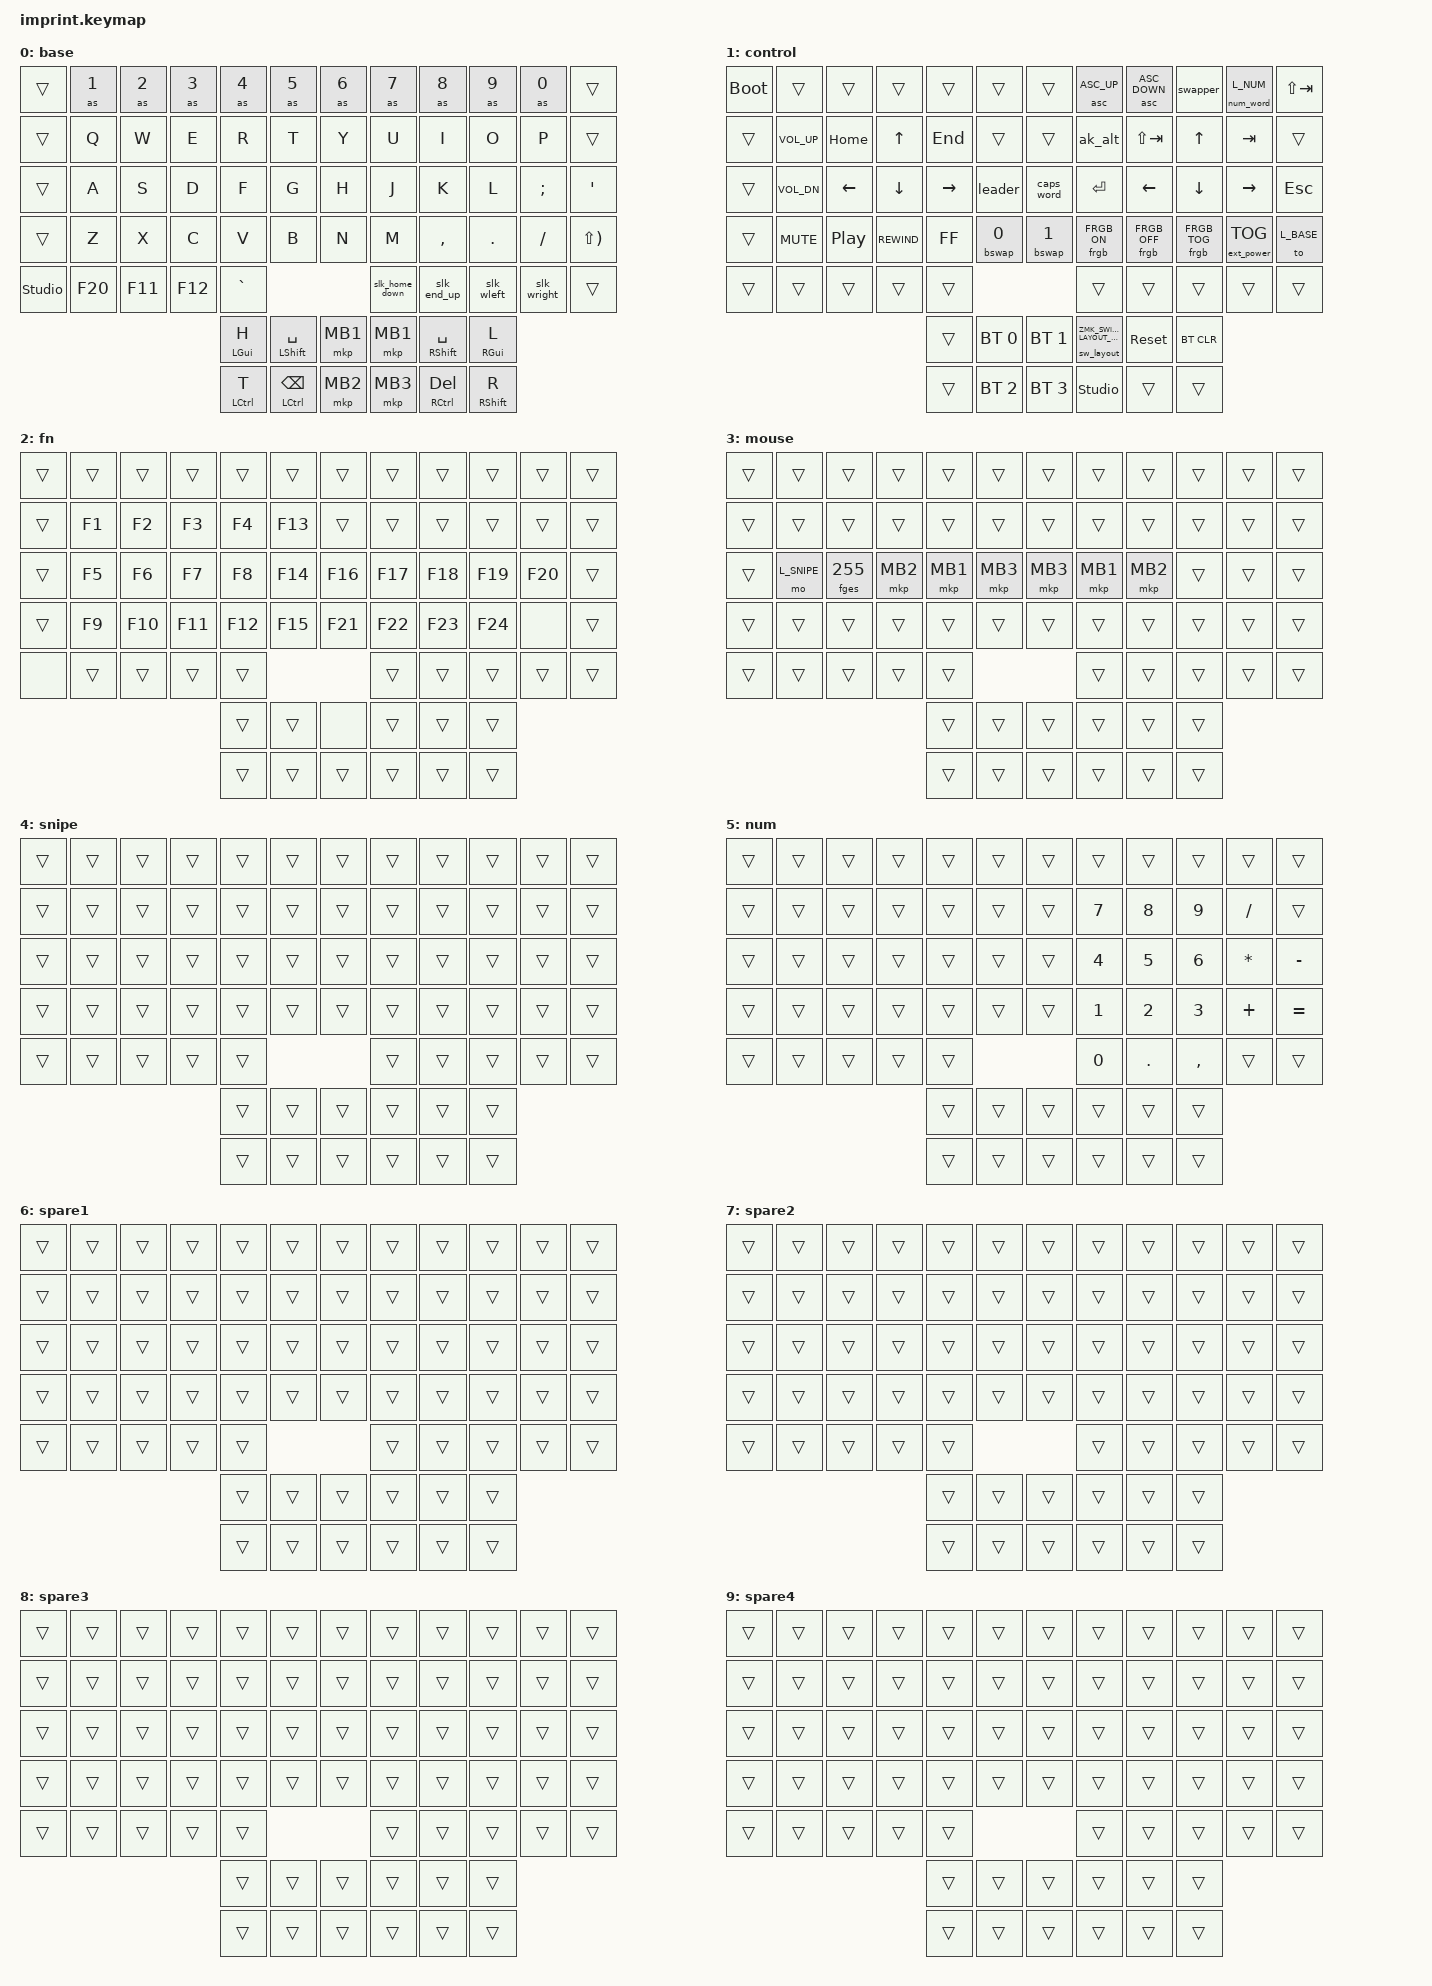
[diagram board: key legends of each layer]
#include <input/processors.dtsi>
#include <dt-bindings/zmk/input_transform.h>
#include <flask_scrollsnap.dtsi>
#include <flask_scrollscale.dtsi>
#include <flask_accel.dtsi>
#include <flask_automouse.dtsi>
#include <flask_autoscroll.dtsi>
#include <dt-bindings/flask/autoscroll.h>
#include <flask_rgb.dtsi>
#include <dt-bindings/flask/rgb.h>
#include <flask_gestures.dtsi>
#include <behaviors.dtsi>
#include <dt-bindings/zmk/bt.h>
#include <dt-bindings/zmk/ext_power.h>
#include <dt-bindings/zmk/keys.h>
#include <dt-bindings/zmk/outputs.h>
#include <dt-bindings/zmk/pointing.h>
#include <dt-bindings/zmk/rgb.h>
#include <dt-bindings/zmk-switch-layout/switch-layout.h>
#include <zephyr/dt-bindings/input/input-event-codes.h>

#define L_BASE    0
#define L_CONTROL 1
#define L_FN      2
#define L_MOUSE   3
#define L_SNIPE   4
#define L_NUM     5

/* OS mode = switch-layout index (mctechnology17/zmk-switch-layout), stored in
 * settings so it survives reboot/reflash. slk_* behaviors below pick the
 * right chord per OS; &sw_layout OS_NEXT (control + right inner thumb)
 * toggles. */
#define OS_PC  0
#define OS_MAC 1
#define OS_NEXT ZMK_SWITCH_LAYOUT_NEXT

&mt {
    quick-tap-ms = <150>;
    flavor = "tap-preferred";
};

/* (&sl's `lazy` override removed 2026-07-11 — it deferred layer activation
 * until the next key, which read as "HUD doesn't follow the layer" on the
 * bench, and a lazy sticky layer inside the smart_layer hold-tap was the
 * strongest suspect for the 2026-07-10 crash. smart_layer now wraps the
 * dedicated non-lazy &skl below; nothing else binds &sl.) */

/ {
    /* Physical layout (carries the same matrix transform) — required for
     * ZMK Studio; geometry generated from config/info.json. */
    chosen { zmk,physical-layout = &imprint_physical_layout; };

    behaviors {
        hm_l_ctrl: hm_l_ctrl {
            compatible = "zmk,behavior-hold-tap";
            label = "HM_L_CTRL";
            #binding-cells = <2>;
            bindings = <&kp>, <&kp>;

            tapping-term-ms = <280>;
            quick-tap-ms = <175>;
            require-prior-idle-ms = <150>;
            flavor = "balanced";
            hold-trigger-on-release;
            hold-trigger-key-positions = <6 7 8 9 10 11 18 19 20 21 22 23 30 31 32 33 34 35 42 43 44 45 46 47 53 54 55 56 57 61 62 63 67 68 69>;
        };

        hm_l_alt: hm_l_alt {
            compatible = "zmk,behavior-hold-tap";
            label = "HM_L_ALT";
            #binding-cells = <2>;
            bindings = <&kp>, <&kp>;

            tapping-term-ms = <280>;
            quick-tap-ms = <175>;
            require-prior-idle-ms = <150>;
            flavor = "balanced";
            hold-trigger-on-release;
            hold-trigger-key-positions = <6 7 8 9 10 11 18 19 20 21 22 23 30 31 32 33 34 35 42 43 44 45 46 47 53 54 55 56 57 61 62 63 67 68 69>;
        };

        hm_l_gui: hm_l_gui {
            compatible = "zmk,behavior-hold-tap";
            label = "HM_L_GUI";
            #binding-cells = <2>;
            bindings = <&kp>, <&kp>;

            tapping-term-ms = <280>;
            quick-tap-ms = <175>;
            require-prior-idle-ms = <150>;
            flavor = "tap-preferred";
            hold-trigger-key-positions = <6 7 8 9 10 11 18 19 20 21 22 23 30 31 32 33 34 35 42 43 44 45 46 47 53 54 55 56 57 61 62 63 67 68 69>;
            hold-trigger-on-release;
        };

        hm_l_shft: hm_l_shft {
            compatible = "zmk,behavior-hold-tap";
            label = "HM_L_SHFT";
            #binding-cells = <2>;
            bindings = <&kp>, <&kp>;

            tapping-term-ms = <280>;
            quick-tap-ms = <175>;
            require-prior-idle-ms = <150>;
            flavor = "balanced";
            hold-trigger-on-release;
            hold-trigger-key-positions = <6 7 8 9 10 11 18 19 20 21 22 23 30 31 32 33 34 35 42 43 44 45 46 47 53 54 55 56 57 61 62 63 67 68 69>;
        };

        ak_rti: ak_rti {
            compatible = "zmk,behavior-adaptive-key";
            label = "AK_RTI";
            #binding-cells = <0>;
            bindings = <&key_repeat>;

            rti_a {
                trigger-keys = <A>;
                max-prior-idle-ms = <500>;
                bindings = <&kp O>;
            };

            rti_b {
                trigger-keys = <B>;
                max-prior-idle-ms = <500>;
                bindings = <&kp E &kp C &kp A &kp U &kp S &kp E>;
            };

            rti_e {
                trigger-keys = <E>;
                max-prior-idle-ms = <500>;
                bindings = <&kp U>;
            };

            rti_g {
                trigger-keys = <G>;
                max-prior-idle-ms = <500>;
                bindings = <&kp I &kp N &kp G>;
            };

            rti_h {
                trigger-keys = <H>;
                max-prior-idle-ms = <500>;
                bindings = <&kp I &kp C &kp H>;
            };

            rti_i {
                trigger-keys = <I>;
                max-prior-idle-ms = <500>;
                bindings = <&kp N &kp G>;
            };

            rti_j {
                trigger-keys = <J>;
                max-prior-idle-ms = <500>;
                bindings = <&kp U &kp S &kp T>;
            };

            rti_k {
                trigger-keys = <K>;
                max-prior-idle-ms = <500>;
                bindings = <&kp I &kp N &kp G>;
            };

            rti_l {
                trigger-keys = <L>;
                max-prior-idle-ms = <500>;
                bindings = <&kp O &kp N &kp G>;
            };

            rti_m {
                trigger-keys = <M>;
                max-prior-idle-ms = <500>;
                bindings = <&kp E &kp N &kp T>;
            };

            rti_n {
                trigger-keys = <N>;
                max-prior-idle-ms = <500>;
                bindings = <&kp I &kp O &kp N>;
            };

            rti_o {
                trigger-keys = <O>;
                max-prior-idle-ms = <500>;
                bindings = <&kp U &kp L &kp D>;
            };

            rti_p {
                trigger-keys = <P>;
                max-prior-idle-ms = <500>;
                bindings = <&kp E &kp O &kp P &kp L &kp E>;
            };

            rti_q {
                trigger-keys = <Q>;
                max-prior-idle-ms = <500>;
                bindings = <&kp U>;
            };

            rti_t {
                trigger-keys = <T>;
                max-prior-idle-ms = <500>;
                bindings = <&kp I &kp O &kp N>;
            };

            rti_u {
                trigger-keys = <U>;
                max-prior-idle-ms = <500>;
                bindings = <&kp I>;
            };

            rti_v {
                trigger-keys = <V>;
                max-prior-idle-ms = <500>;
                bindings = <&kp S>;
            };

            rti_y {
                trigger-keys = <Y>;
                max-prior-idle-ms = <500>;
                bindings = <&kp O &kp U>;
            };

            rti_space {
                trigger-keys = <SPACE>;
                max-prior-idle-ms = <500>;
                bindings = <&kp T &kp H &kp E>;
            };

            rti_sentence {
                trigger-keys = <DOT QMARK EXCL>;
                max-prior-idle-ms = <500>;
                bindings = <&kp SPACE &sk LSHFT>;
            };

            rti_bspc {
                trigger-keys = <BSPC>;
                max-prior-idle-ms = <500>;
                bindings = <&slk_wbspc>;
            };

            rti_del {
                trigger-keys = <DEL>;
                max-prior-idle-ms = <500>;
                bindings = <&slk_wdel>;
            };
        };

        /* Second adaptive key (urob/zmk-adaptive-key): the QMK Alt Repeat —
         * taps the REVERSE companion of the last key (→ after ←, PgDn after
         * PgUp, ⇧Tab after Tab, closing bracket after opening). No
         * max-prior-idle: works whenever. Falls back to plain repeat. More
         * of these can coexist (ak_rti = completions, ak_alt = reversals). */
        ak_alt: ak_alt {
            compatible = "zmk,behavior-adaptive-key";
            label = "AK_ALT";
            #binding-cells = <0>;
            bindings = <&key_repeat>;

            alt_left    { trigger-keys = <LEFT>;  bindings = <&kp RIGHT>; };
            alt_right   { trigger-keys = <RIGHT>; bindings = <&kp LEFT>; };
            alt_up      { trigger-keys = <UP>;    bindings = <&kp DOWN>; };
            alt_down    { trigger-keys = <DOWN>;  bindings = <&kp UP>; };
            alt_pgup    { trigger-keys = <PG_UP>; bindings = <&kp PG_DN>; };
            alt_pgdn    { trigger-keys = <PG_DN>; bindings = <&kp PG_UP>; };
            alt_home    { trigger-keys = <HOME>;  bindings = <&kp END>; };
            alt_end     { trigger-keys = <END>;   bindings = <&kp HOME>; };
            alt_tab     { trigger-keys = <TAB>;   bindings = <&kp LS(TAB)>; };
            alt_lbkt    { trigger-keys = <LBKT>;  bindings = <&kp RBKT>; };
            alt_rbkt    { trigger-keys = <RBKT>;  bindings = <&kp LBKT>; };
        };

        /* Smart num layer (urob/zmk-auto-layer): &num_word L_NUM latches the
         * num layer; digits and the continue-list keep it alive, anything
         * else drops back. */
        num_word: num_word {
            compatible = "zmk,behavior-auto-layer";
            #binding-cells = <1>;
            display-name = "Num Word";
            continue-list = <BSPC DEL DOT COMMA PLUS MINUS STAR FSLH EQUAL>;
            ignore-numbers;
        };

        /* App switcher (urob/zmk-tri-state): tap = mod+Tab and the mod STAYS
         * HELD; more taps cycle; any non-ignored key press (or releasing the
         * Control layer) drops the mod and commits. OS-aware since 2026-07-08:
         * &swapper is a switch-layout-key wrapping two tri-states — ⌘ on mac,
         * Alt on PC — following the same persisted &sw_layout OS_NEXT toggle
         * as every slk_* key (ZMK has no host-OS auto-detection; zmk#2553).
         * Ignored positions = Control's Tab/⇧Tab/arrows/Enter (20 21 22 /
         * 31-34) so the app grid can be navigated mid-swap, plus 11 = the
         * dedicated reverse key (⇧Tab, right of num_word): shift applies to
         * whichever mod the swapper holds, so one reverse key serves both
         * OSes. */
        swapper_mac: swapper_mac {
            compatible = "zmk,behavior-tri-state";
            label = "SWAPPER_MAC";
            #binding-cells = <0>;
            bindings = <&kt LGUI>, <&kp TAB>, <&kt LGUI>;
            ignored-key-positions = <11 20 21 22 31 32 33 34>;
        };

        swapper_win: swapper_win {
            compatible = "zmk,behavior-tri-state";
            label = "SWAPPER_WIN";
            #binding-cells = <0>;
            bindings = <&kt LALT>, <&kp TAB>, <&kt LALT>;
            ignored-key-positions = <11 20 21 22 31 32 33 34>;
        };

        swapper: swapper {
            compatible = "zmk-switch-layout,behavior-switch-layout-key";
            #binding-cells = <0>;
            bindings = <&swapper_win>, <&swapper_mac>;
        };

        as_ht: as_ht {
            compatible = "zmk,behavior-hold-tap";
            label = "AS_HT";
            bindings = <&shift>, <&kp>;

            #binding-cells = <2>;
            tapping-term-ms = <200>;
            flavor = "tap-preferred";
        };

        bdel: bdel {
            compatible = "zmk,behavior-mod-morph";
            label = "BDEL";
            bindings = <&kp BSPC>, <&kp DEL>;

            #binding-cells = <0>;
            mods = <(MOD_LSFT|MOD_RSFT)>;
            keep-mods = <(MOD_LCTL|MOD_LALT|MOD_RCTL|MOD_LGUI|MOD_RALT|MOD_RGUI)>;
        };

        th_r_rep: th_r_rep {
            compatible = "zmk,behavior-hold-tap";
            label = "TH_R_REP";
            bindings = <&kp>, <&key_repeat>;

            #binding-cells = <2>;
            tapping-term-ms = <180>;
            flavor = "hold-preferred";
            quick-tap-ms = <150>;
            require-prior-idle-ms = <165>;
            hold-trigger-key-positions = <0 1 2 3 4 5 12 13 14 15 16 17 24 25 26 27 28 29 36 37 38 39 40 41 48 49 50 51 52 58 59 60 64 65 66>;
        };

        hm_r_ctrl: hm_r_ctrl {
            compatible = "zmk,behavior-hold-tap";
            label = "HM_R_CTRL";
            #binding-cells = <2>;
            bindings = <&kp>, <&kp>;

            tapping-term-ms = <280>;
            quick-tap-ms = <175>;
            require-prior-idle-ms = <150>;
            flavor = "balanced";
            hold-trigger-on-release;
            hold-trigger-key-positions = <0 1 2 3 4 5 12 13 14 15 16 17 24 25 26 27 28 29 36 37 38 39 40 41 48 49 50 51 52 58 59 60 64 65 66>;
        };

        hm_r_gui: hm_r_gui {
            compatible = "zmk,behavior-hold-tap";
            label = "HM_R_GUI";
            #binding-cells = <2>;
            bindings = <&kp>, <&kp>;

            tapping-term-ms = <280>;
            quick-tap-ms = <175>;
            require-prior-idle-ms = <150>;
            flavor = "tap-preferred";
            hold-trigger-on-release;
            hold-trigger-key-positions = <0 1 2 3 4 5 12 13 14 15 16 17 24 25 26 27 28 29 36 37 38 39 40 41 48 49 50 51 52 58 59 60 64 65 66>;
        };

        hm_r_shift: hm_r_shift {
            compatible = "zmk,behavior-hold-tap";
            label = "HM_R_SHIFT";
            #binding-cells = <2>;
            bindings = <&kp>, <&kp>;

            tapping-term-ms = <280>;
            quick-tap-ms = <175>;
            require-prior-idle-ms = <150>;
            flavor = "balanced";
            hold-trigger-on-release;
            hold-trigger-key-positions = <0 1 2 3 4 5 12 13 14 15 16 17 24 25 26 27 28 29 36 37 38 39 40 41 48 49 50 51 52 58 59 60 64 65 66>;
        };

        sl_mo: sl_mo {
            compatible = "zmk,behavior-hold-tap";
            label = "SL_MO";
            bindings = <&mo>, <&sl>;

            #binding-cells = <2>;
            tapping-term-ms = <200>;
            quick-tap-ms = <150>;
            flavor = "balanced";
        };

        leader: leader {
            compatible = "zmk,behavior-leader-key";
            label = "LEADER";
            #binding-cells = <0>;

            email {
                sequence = <E M>;
                bindings = <&email_um>;
            };

            to_usb {
                sequence = <U>;
                bindings = <&out OUT_USB>;
            };

            to_ble {
                sequence = <B>;
                bindings = <&out OUT_BLE>;
            };
        };

        /* --- OS-aware shortcuts (zmk-switch-layout): index 0 = PC, 1 = mac.
         * Persisted in settings; swap with &sw_layout OS_NEXT. --- */
        sw_layout: sw_layout {
            compatible = "zmk-switch-layout,behavior-switch-layout-mode";
            #binding-cells = <1>;
            layout-count = <2>;
            default-layout = <OS_PC>;
        };

        slk_copycut: slk_copycut {
            compatible = "zmk-switch-layout,behavior-switch-layout-key";
            #binding-cells = <0>;
            bindings = <&mt LC(X) LC(C)>, <&mt LG(X) LG(C)>;
        };

        slk_paste: slk_paste {
            compatible = "zmk-switch-layout,behavior-switch-layout-key";
            #binding-cells = <0>;
            bindings = <&kp LC(V)>, <&kp LG(V)>;
        };

        slk_undoredo: slk_undoredo {
            compatible = "zmk-switch-layout,behavior-switch-layout-key";
            #binding-cells = <0>;
            bindings = <&mt LC(Y) LC(Z)>, <&mt LG(LS(Z)) LG(Z)>;
        };

        slk_selall: slk_selall {
            compatible = "zmk-switch-layout,behavior-switch-layout-key";
            #binding-cells = <0>;
            bindings = <&kp LC(A)>, <&kp LG(A)>;
        };

        slk_close: slk_close {
            compatible = "zmk-switch-layout,behavior-switch-layout-key";
            #binding-cells = <0>;
            bindings = <&kp LC(W)>, <&kp LG(W)>;
        };

        slk_ntab: slk_ntab {
            compatible = "zmk-switch-layout,behavior-switch-layout-key";
            #binding-cells = <0>;
            bindings = <&kp LC(T)>, <&kp LG(T)>;
        };

        slk_wbspc: slk_wbspc {
            compatible = "zmk-switch-layout,behavior-switch-layout-key";
            #binding-cells = <0>;
            bindings = <&kp LC(BSPC)>, <&kp LA(BSPC)>;
        };

        slk_wdel: slk_wdel {
            compatible = "zmk-switch-layout,behavior-switch-layout-key";
            #binding-cells = <0>;
            bindings = <&kp LC(DEL)>, <&kp LA(DEL)>;
        };

        slk_home_down: slk_home_down {
            compatible = "zmk-switch-layout,behavior-switch-layout-key";
            #binding-cells = <0>;
            bindings = <&mt HOME DOWN_ARROW>, <&mt LG(LEFT) DOWN_ARROW>;
        };

        slk_end_up: slk_end_up {
            compatible = "zmk-switch-layout,behavior-switch-layout-key";
            #binding-cells = <0>;
            bindings = <&mt END UP>, <&mt LG(RIGHT) UP>;
        };

        slk_wleft: slk_wleft {
            compatible = "zmk-switch-layout,behavior-switch-layout-key";
            #binding-cells = <0>;
            bindings = <&mt LC(LEFT) LEFT_ARROW>, <&mt LA(LEFT) LEFT_ARROW>;
        };

        slk_wright: slk_wright {
            compatible = "zmk-switch-layout,behavior-switch-layout-key";
            #binding-cells = <0>;
            bindings = <&mt LC(RIGHT) RIGHT>, <&mt LA(RIGHT) RIGHT>;
        };

        /* Runtime macros (flask_macros, channel 0x25): &fmac <slot> plays a
         * live-editable 16-step macro slot (0-15), edited from the Flask
         * app. Unbound by default — assign from Studio / the app's editor;
         * the node existing is what compiles the behavior in and puts it on
         * Studio's behavior list (slot range rides parameter metadata). */
        /* Runtime leader (flask_leader, channel 0x19): &fled opens a
         * capture matched against the app-edited sequence table. Unbound
         * by default — assign from Studio / the app. urob's &leader (the
         * compiled email/USB/BLE sequences) stays on its own key. */
        fled: fled {
            compatible = "zmk,behavior-flask-leader";
            #binding-cells = <0>;
            display-name = "Flask Leader";
        };

        fmac: fmac {
            compatible = "zmk,behavior-flask-macros";
            #binding-cells = <1>;
            display-name = "Flask Macro";
        };

        /* Runtime tap dance (flask_tapdance, channel 0x28, v14): &ftd <slot>
         * runs a live-editable dance — per-slot tapping term + one typed
         * output per tap count, all from the app's wizard. Unbound by
         * default — assign from Studio / the app; the node existing is what
         * compiles the behavior in (slot range rides parameter metadata). */
        ftd: ftd {
            compatible = "zmk,behavior-flask-tapdance";
            #binding-cells = <1>;
            display-name = "Tap Dance";
        };

        /* Composer tap-hold timing variants (v14, AJ's "behavior
         * modification settings" ask). Core hold-tap params are const DT —
         * not runtime-tunable — so the app's Tap-hold section offers a
         * TIMING choice among these precompiled instances instead: &mt
         * stays the core 200 ms (quick-tap 150 via the &mt override up
         * top), fast resolves at 150, slow at 300. Same two-param shape
         * Studio already renders for &mt. */
        mt_fast: mt_fast {
            compatible = "zmk,behavior-hold-tap";
            #binding-cells = <2>;
            display-name = "Mod-Tap (fast 150)";
            flavor = "tap-preferred";
            tapping-term-ms = <150>;
            quick-tap-ms = <125>;
            bindings = <&kp>, <&kp>;
        };

        mt_slow: mt_slow {
            compatible = "zmk,behavior-hold-tap";
            #binding-cells = <2>;
            display-name = "Mod-Tap (slow 300)";
            flavor = "tap-preferred";
            tapping-term-ms = <300>;
            quick-tap-ms = <175>;
            bindings = <&kp>, <&kp>;
        };

        lt_fast: lt_fast {
            compatible = "zmk,behavior-hold-tap";
            #binding-cells = <2>;
            display-name = "Layer-Tap (fast 150)";
            flavor = "tap-preferred";
            tapping-term-ms = <150>;
            quick-tap-ms = <125>;
            bindings = <&mo>, <&kp>;
        };

        lt_slow: lt_slow {
            compatible = "zmk,behavior-hold-tap";
            #binding-cells = <2>;
            display-name = "Layer-Tap (slow 300)";
            flavor = "tap-preferred";
            tapping-term-ms = <300>;
            quick-tap-ms = <175>;
            bindings = <&mo>, <&kp>;
        };

        /* --- Smart one-shot/hold (2026-07-10, AJ's ask) ---
         * Tri-state modifier/layer keys by composition: a hold-tap whose
         * HOLD binding is a sticky behavior.
         *   tap                                → the tap binding (any usage)
         *   hold past tapping-term, release
         *     with nothing else pressed        → ONE-SHOT (next key gets it)
         *   keep holding and type              → plain held modifier/layer
         * The one-shot window is skm's release-after-ms (1.5 s). Unbound by
         * default — Studio-assignable two-param behaviors, the same shape
         * Studio renders for &mt / &lt (param1 = mod / layer, param2 = tap
         * usage). */
        skm: skm {
            compatible = "zmk,behavior-sticky-key";
            #binding-cells = <1>;
            display-name = "Sticky Mod (smart)";
            release-after-ms = <1500>;
            bindings = <&kp>;
            ignore-modifiers; /* chain ⇧ then ⌘ as stacked one-shots */
        };

        smart_mod: smart_mod {
            compatible = "zmk,behavior-hold-tap";
            #binding-cells = <2>;
            display-name = "Smart Mod";
            flavor = "balanced";
            tapping-term-ms = <200>;
            quick-tap-ms = <175>;
            bindings = <&skm>, <&kp>;
        };

        /* Smart Layer, reworked to AJ's bench spec (2026-07-11): the param
         * is a LAYER on both sides —
         *   tap                  → &tog latches the layer (tap again on a
         *                          position that stays &trans to unlatch)
         *   brief hold + release → one-shot layer (next key), via &skl
         *   sustained hold       → layer while held
         * &skl is a dedicated NON-lazy sticky layer: the stock &sl carried
         * urob's `lazy` flag, which defers activation until the next key —
         * that's why the HUD didn't follow. Bind as &smart_layer L L (the
         * hold-tap needs the layer in both params; the app's composer fills
         * both from one picker). */
        skl: skl {
            compatible = "zmk,behavior-sticky-key";
            #binding-cells = <1>;
            display-name = "Sticky Layer (smart)";
            release-after-ms = <1500>;
            bindings = <&mo>;
            ignore-modifiers;
        };

        smart_layer: smart_layer {
            compatible = "zmk,behavior-hold-tap";
            #binding-cells = <2>;
            display-name = "Smart Layer";
            flavor = "balanced";
            tapping-term-ms = <200>;
            quick-tap-ms = <175>;
            bindings = <&skl>, <&tog>;
        };

        /* Trackball role swap (flask_ballswap, channel 0x1B, proto v11):
         * &bswap 0 = toggle + persist (survives power cycle AND reflash —
         * settings live outside the app image); &bswap 1 = swap while held.
         * Default keys: Control 41 / 42 (inner column, row 4); also
         * Studio-assignable anywhere. */
        bswap: bswap {
            compatible = "zmk,behavior-flask-ballswap";
            #binding-cells = <1>;
            display-name = "Ball Swap";
        };

    };

    /* Combos migrated to RUNTIME slots 2026-07-12 (AJ's ask: every combo
     * visible and editable in the Flask app, with its per-combo timing).
     * Same child shape as zmk,combos, but these are compiled DEFAULTS for
     * flask_combos (channel 0x24): each child seeds one runtime slot in
     * declaration order; app edits — and deletions — persist via settings
     * and win over these seeds on boot. The combos master toggle now
     * governs ALL of them (the old DT combos had no off switch). */
    flask_combos_defaults {
        compatible = "flask,combos-defaults";

        copy_cut {
            bindings = <&slk_copycut>;
            key-positions = <27 26>;
            timeout-ms = <35>;
            require-prior-idle-ms = <150>;
        };

        lbtab {
            bindings = <&kp LS(TAB)>;
            key-positions = <26 14>;
            timeout-ms = <35>;
        };

        tab {
            bindings = <&kp TAB>;
            key-positions = <27 15>;
            timeout-ms = <35>;
        };

        lesc {
            bindings = <&kp ESC>;
            key-positions = <13 25>;
            timeout-ms = <35>;
        };

        paste {
            bindings = <&slk_paste>;
            key-positions = <28 27>;
            timeout-ms = <35>;
            require-prior-idle-ms = <150>;
        };

        undo_redo {
            bindings = <&slk_undoredo>;
            key-positions = <26 25>;
            timeout-ms = <35>;
            require-prior-idle-ms = <150>;
        };

        sel_all {
            bindings = <&slk_selall>;
            key-positions = <29 17>;
            timeout-ms = <35>;
            require-prior-idle-ms = <140>;
        };

        ent {
            bindings = <&kp ENTER>;
            key-positions = <16 28>;
            timeout-ms = <35>;
        };

        close {
            bindings = <&slk_close>;
            key-positions = <28 40>;
            timeout-ms = <35>;
        };

        ntab {
            bindings = <&slk_ntab>;
            key-positions = <27 39>;
            timeout-ms = <35>;
        };

        quit {
            bindings = <&kp LG(Q)>;
            key-positions = <25 37>;
            timeout-ms = <35>;
        };

        rbtab {
            bindings = <&kp LS(TAB)>;
            key-positions = <21 33>;
            timeout-ms = <35>;
        };

        rtab {
            bindings = <&kp TAB>;
            key-positions = <20 32>;
            timeout-ms = <35>;
        };

        resc {
            bindings = <&kp ESC>;
            key-positions = <22 34>;
            timeout-ms = <35>;
        };

        rent {
            bindings = <&kp ENTER>;
            key-positions = <19 31>;
            timeout-ms = <35>;
        };

        excl {
            bindings = <&kp EXCL>;
            key-positions = <18 19>;
            timeout-ms = <35>;
            layers = <0>;
        };

        dot {
            bindings = <&kp DOT>;
            key-positions = <30 31>;
            timeout-ms = <35>;
        };

        comma {
            bindings = <&kp COMMA>;
            key-positions = <42 43>;
            timeout-ms = <35>;
        };

        semi {
            bindings = <&kp SEMI>;
            key-positions = <42 30>;
            timeout-ms = <35>;
        };

        quote {
            bindings = <&kp SQT>;
            key-positions = <32 44>;
            timeout-ms = <35>;
        };

        fslhq {
            bindings = <&kp FSLH>;
            key-positions = <31 43>;
            timeout-ms = <35>;
        };

        lbkt {
            bindings = <&kp LEFT_BRACKET>;
            key-positions = <33 45>;
            timeout-ms = <35>;
        };

        rbkt {
            bindings = <&kp RBKT>;
            key-positions = <34 46>;
            timeout-ms = <35>;
        };

        m4 {
            bindings = <&mkp MB4>;
            key-positions = <51 50>;
            timeout-ms = <35>;
        };

        m5 {
            bindings = <&mkp MB5>;
            key-positions = <52 51>;
            timeout-ms = <35>;
        };

        z {
            bindings = <&lt 1 Z>;
            key-positions = <58 64>;
            timeout-ms = <50>;
        };

        x {
            bindings = <&lt 2 X>;
            key-positions = <59 65>;
            timeout-ms = <35>;
        };

        rrep {
            bindings = <&key_repeat>;
            key-positions = <63 69>;
            timeout-ms = <35>;
        };
    };

    macros {
        shift: shift {
            compatible = "zmk,behavior-macro-one-param";
            label = "SHIFT";
            #binding-cells = <1>;
            bindings =
                <&macro_press>,
                <&kp LSHFT>,
                <&macro_tap>,
                <&macro_param_1to1 &kp MACRO_PLACEHOLDER>,
                <&macro_release>,
                <&kp LSHFT>;
        };

        as: as {
            compatible = "zmk,behavior-macro-one-param";
            label = "AS";
            #binding-cells = <1>;
            bindings =
                <&macro_press>,
                <&macro_param_1to1 &macro_param_1to2 &as_ht MACRO_PLACEHOLDER MACRO_PLACEHOLDER>,
                <&macro_pause_for_release>,
                <&macro_release>,
                <&macro_param_1to1 &macro_param_1to2 &as_ht MACRO_PLACEHOLDER MACRO_PLACEHOLDER>;
        };

        /* The rgb_ug mod-hold color macros (ctrl/alt/gui/shft_rgb) and the
         * per-layer color listeners (rgb_cont/rgb_fn) were removed
         * 2026-07-09 — flask_rgb's per-key per-layer map replaces them
         * (paint layer colors in the Flask app; RGB_UNDERGLOW is off).
         * Mod-hold color feedback is a candidate flask_rgb v2 overlay. */

        qu: qu {
            compatible = "zmk,behavior-macro";
            label = "QU";
            #binding-cells = <0>;
            bindings = <&kp Q &kp U>;
        };

        email_um: email_um {
            compatible = "zmk,behavior-macro";
            label = "EMAIL_UM";
            #binding-cells = <0>;
            wait-ms = <0>;
            tap-ms = <0>;
            bindings = <&kp C &kp H &kp O &kp W &kp D &kp N1 &kp N9 &kp N8 &kp AT &kp U &kp M &kp N &kp DOT &kp E &kp D &kp U>;
        };
    };

    /* flask_rgb: runtime per-key per-layer RGB (Flask channel 0x21). Both
     * halves compile this node; the peripheral's global LED offset comes
     * from build.yaml (CONFIG_ZMK_FLASK_RGB_LED_OFFSET=35). led-count /
     * total-leds assume AJ's 70 = whole-board count (35 per half) — if the
     * bench paint-sweep says 70 per half, bump these + the offset. */
    flask_rgb: flask_rgb {
        compatible = "flask,rgb";
        led-strip = <&led_strip>;
        led-count = <35>;
        total-leds = <70>;
        layers = <10>;
        /* LED index → keymap position (per-half chains run in per-half
         * position order; keymap positions interleave halves per row:
         * 12/12/12/12/10/6/6). Entry i = the position LED i lights. Feeds
         * the reactive-overlay API (leader candidate lighting). Same
         * assumption as flask-web's ledKeyOrder — if the bench paint sweep
         * disagrees, fix the chain order HERE and there. */
        key-positions = <
             0  1  2  3  4  5   12 13 14 15 16 17
            24 25 26 27 28 29   36 37 38 39 40 41
            48 49 50 51 52      58 59 60   64 65 66
             6  7  8  9 10 11   18 19 20 21 22 23
            30 31 32 33 34 35   42 43 44 45 46 47
            53 54 55 56 57      61 62 63   67 68 69
        >;
    };

    keymap {
        compatible = "zmk,keymap";

        base {
            bindings = <
&trans  &as N1   &as N2   &as N3   &as N4              &as N5                              &as N6    &as N7                   &as N8               &as N9                   &as N0               &trans
&trans  &kp Q    &kp W    &kp E    &kp R               &kp T                               &kp Y     &kp U                    &kp I                &kp O                    &kp P                &trans
&trans  &kp A    &kp S    &kp D    &kp F               &kp G                               &kp H     &kp J                    &kp K                &kp L                    &kp SEMI             &kp SQT
&trans  &kp Z    &kp X    &kp C    &kp V               &kp B                               &kp N     &kp M                    &kp COMMA            &kp DOT                  &kp FSLH             &kp LS(RPAR)
&studio_unlock  &kp F20  &kp F11  &kp F12  &kp GRAVE                                                 &slk_home_down           &slk_end_up          &slk_wleft               &slk_wright          &trans
                                   &hm_l_gui LGUI H    &hm_l_shft LSHFT SPACE  &mkp MB1    &mkp MB1  &hm_r_shift RSHFT SPACE  &hm_r_gui RGUI L
                                   &hm_l_shft LCTRL T  &hm_l_ctrl LCTRL BSPC   &mkp MB2    &mkp MB3  &hm_r_ctrl RCTRL DEL     &hm_r_shift RSHFT R
            >;
        };

        control {
            bindings = <
&bootloader  &trans        &trans    &trans        &trans     &trans                        &trans          &asc ASC_UP     &asc ASC_DOWN    &swapper         &num_word L_NUM  &kp LS(TAB)
&trans       &kp C_VOL_UP  &kp HOME  &kp UP        &kp END    &trans                        &trans          &ak_alt         &kp LS(TAB)      &kp UP           &kp TAB          &trans
&trans       &kp C_VOL_DN  &kp LEFT  &kp DOWN      &kp RIGHT  &leader                       &caps_word      &kp RET         &kp LEFT         &kp DOWN         &kp RIGHT        &kp ESC
&trans       &kp C_MUTE    &kp C_PP  &kp C_REWIND  &kp C_FF   &bswap 0                      &bswap 1        &frgb FRGB_ON   &frgb FRGB_OFF   &frgb FRGB_TOG   &ext_power EP_TOG  &to L_BASE
&trans       &trans        &trans    &trans        &trans                                                   &trans          &trans           &trans           &trans           &trans
                                                   &trans     &bt BT_SEL 0  &bt BT_SEL 1    &sw_layout OS_NEXT  &sys_reset  &bt BT_CLR
                                                   &trans     &bt BT_SEL 2  &bt BT_SEL 3    &studio_unlock  &trans          &trans
            >;
        };

        fn {
            bindings = <
&trans  &trans  &trans   &trans   &trans   &trans             &trans   &trans   &trans   &trans   &trans   &trans
&trans  &kp F1  &kp F2   &kp F3   &kp F4   &kp F13            &trans   &trans   &trans   &trans   &trans   &trans
&trans  &kp F5  &kp F6   &kp F7   &kp F8   &kp F14            &kp F16  &kp F17  &kp F18  &kp F19  &kp F20  &trans
&trans  &kp F9  &kp F10  &kp F11  &kp F12  &kp F15            &kp F21  &kp F22  &kp F23  &kp F24  &none    &trans
&none   &trans  &trans   &trans   &trans                               &trans   &trans   &trans   &trans   &trans
                                  &trans   &trans   &none     &trans   &trans   &trans
                                  &trans   &trans   &trans    &trans   &trans   &trans
            >;
        };

        /* Auto-mouse overlay (Flask MBO): popped by cursor-ball motion via
         * flask_automouse (v13 — runtime timeout/threshold/extend; default
         * 750 ms, timeout 0 latches until a transparent key). Home-row
         * clicks on both hands; hold A-position for snipe, hold S-position
         * for mouse gestures. Thumb MB1/2/3 stay via &trans. */
        mouse {
            bindings = <
&trans  &trans       &trans          &trans    &trans    &trans      &trans    &trans    &trans    &trans  &trans  &trans
&trans  &trans       &trans          &trans    &trans    &trans      &trans    &trans    &trans    &trans  &trans  &trans
&trans  &mo L_SNIPE  &fges 255  &mkp MB2  &mkp MB1  &mkp MB3    &mkp MB3  &mkp MB1  &mkp MB2  &trans  &trans  &trans
&trans  &trans       &trans          &trans    &trans    &trans      &trans    &trans    &trans    &trans  &trans  &trans
&trans  &trans       &trans          &trans    &trans                          &trans    &trans    &trans  &trans  &trans
                                               &trans    &trans    &trans    &trans    &trans    &trans
                                               &trans    &trans    &trans    &trans    &trans    &trans
            >;
        };

        /* Snipe: transparent — exists to gate the 1/3 cursor scaler in the
         * peripheral listener (Flask sniper). */
        snipe {
            bindings = <
&trans  &trans  &trans  &trans  &trans  &trans    &trans  &trans  &trans  &trans  &trans  &trans
&trans  &trans  &trans  &trans  &trans  &trans    &trans  &trans  &trans  &trans  &trans  &trans
&trans  &trans  &trans  &trans  &trans  &trans    &trans  &trans  &trans  &trans  &trans  &trans
&trans  &trans  &trans  &trans  &trans  &trans    &trans  &trans  &trans  &trans  &trans  &trans
&trans  &trans  &trans  &trans  &trans                    &trans  &trans  &trans  &trans  &trans
                                &trans  &trans  &trans    &trans  &trans  &trans
                                &trans  &trans  &trans    &trans  &trans  &trans
            >;
        };

        /* Smart-num layer — latched by &num_word (auto-layer). Right-hand
         * numpad on the home block, operators on the outer column; digits +
         * the num_word continue-list keep it alive, anything else exits. */
        num {
            bindings = <
&trans  &trans  &trans  &trans  &trans  &trans    &trans  &trans  &trans   &trans  &trans     &trans
&trans  &trans  &trans  &trans  &trans  &trans    &trans  &kp N7  &kp N8   &kp N9  &kp FSLH   &trans
&trans  &trans  &trans  &trans  &trans  &trans    &trans  &kp N4  &kp N5   &kp N6  &kp STAR   &kp MINUS
&trans  &trans  &trans  &trans  &trans  &trans    &trans  &kp N1  &kp N2   &kp N3  &kp PLUS   &kp EQUAL
&trans  &trans  &trans  &trans  &trans                    &kp N0  &kp DOT  &kp COMMA  &trans  &trans
                                &trans  &trans  &trans    &trans  &trans  &trans
                                &trans  &trans  &trans    &trans  &trans  &trans
            >;
        };

        /* Blank spares (2026-07-08): ZMK's total layer capacity is the
         * compiled devicetree child count — Studio's add-layer only reuses
         * slots freed by remove-layer. Four all-&trans spares raise the
         * ceiling to 10 for live editing (rename/fill in the editor, or
         * remove to bank the slot for later adds). Same pattern as the
         * Adept's blank Vial spares. Nothing in firmware references these. */
        spare1 { bindings = <
&trans  &trans  &trans  &trans  &trans  &trans    &trans  &trans  &trans  &trans  &trans  &trans
&trans  &trans  &trans  &trans  &trans  &trans    &trans  &trans  &trans  &trans  &trans  &trans
&trans  &trans  &trans  &trans  &trans  &trans    &trans  &trans  &trans  &trans  &trans  &trans
&trans  &trans  &trans  &trans  &trans  &trans    &trans  &trans  &trans  &trans  &trans  &trans
&trans  &trans  &trans  &trans  &trans                    &trans  &trans  &trans  &trans  &trans
                                &trans  &trans  &trans    &trans  &trans  &trans
                                &trans  &trans  &trans    &trans  &trans  &trans
        >; };

        spare2 { bindings = <
&trans  &trans  &trans  &trans  &trans  &trans    &trans  &trans  &trans  &trans  &trans  &trans
&trans  &trans  &trans  &trans  &trans  &trans    &trans  &trans  &trans  &trans  &trans  &trans
&trans  &trans  &trans  &trans  &trans  &trans    &trans  &trans  &trans  &trans  &trans  &trans
&trans  &trans  &trans  &trans  &trans  &trans    &trans  &trans  &trans  &trans  &trans  &trans
&trans  &trans  &trans  &trans  &trans                    &trans  &trans  &trans  &trans  &trans
                                &trans  &trans  &trans    &trans  &trans  &trans
                                &trans  &trans  &trans    &trans  &trans  &trans
        >; };

        spare3 { bindings = <
&trans  &trans  &trans  &trans  &trans  &trans    &trans  &trans  &trans  &trans  &trans  &trans
&trans  &trans  &trans  &trans  &trans  &trans    &trans  &trans  &trans  &trans  &trans  &trans
&trans  &trans  &trans  &trans  &trans  &trans    &trans  &trans  &trans  &trans  &trans  &trans
&trans  &trans  &trans  &trans  &trans  &trans    &trans  &trans  &trans  &trans  &trans  &trans
&trans  &trans  &trans  &trans  &trans                    &trans  &trans  &trans  &trans  &trans
                                &trans  &trans  &trans    &trans  &trans  &trans
                                &trans  &trans  &trans    &trans  &trans  &trans
        >; };

        spare4 { bindings = <
&trans  &trans  &trans  &trans  &trans  &trans    &trans  &trans  &trans  &trans  &trans  &trans
&trans  &trans  &trans  &trans  &trans  &trans    &trans  &trans  &trans  &trans  &trans  &trans
&trans  &trans  &trans  &trans  &trans  &trans    &trans  &trans  &trans  &trans  &trans  &trans
&trans  &trans  &trans  &trans  &trans  &trans    &trans  &trans  &trans  &trans  &trans  &trans
&trans  &trans  &trans  &trans  &trans                    &trans  &trans  &trans  &trans  &trans
                                &trans  &trans  &trans    &trans  &trans  &trans
                                &trans  &trans  &trans    &trans  &trans  &trans
        >; };

    };

    conditional_layers { compatible = "zmk,conditional-layers"; };
};

/* Auto-mouse layer = flask_automouse since proto v13 (replaced
 * &zip_temp_layer): runtime threshold/timeout/extend from the app's Mouse
 * tab, and timeout 0 latches the layer until a transparent key is pressed
 * (which is swallowed). Defaults mirror AJ's ask: 750 ms, extend on
 * non-transparent keys, trigger on any motion (threshold 0). The 150 ms
 * idle gate matches HRM require-prior-idle. Excluded positions = ONLY the
 * always-on thumb mouse buttons (60 61 66 67), which are transparent ON
 * the Mouse layer but must read as "still mousing"; the old zip list's
 * mouse-layer snipe/gesture/click keys (25-32) are covered by the module's
 * binding check — non-transparent keys on the layer extend, not drop. */
&flask_automouse {
    layer = <L_MOUSE>;
    timeout-ms = <750>;
    threshold = <0>;
    require-prior-idle-ms = <150>;
    excluded-positions = <60 61 66 67>;
};

/* Mouse gestures (flask_gestures, channel 0x11, proto v10 — replaced
 * kot149/zmk-mouse-gesture): hold the gesture key (Mouse layer S-position,
 * &fges 255 = follow the app's active set) and stroke EITHER ball. The
 * QMK set model is back: 8 runtime sets x 8 directions, live-editable
 * from the app's Gestures tab; sets 0-3 seed the Adept/Svalboard defaults
 * (arrows / editing / media / tab-nav — the stroke-count emulation the
 * kot149 patterns used is gone, switch sets in the app instead). Ratchet
 * step defaults to 150 (the benched stroke feel); motion is swallowed
 * while a gesture is open. */

/* Flask accel (proto v9, channel 0x10) — the QMK pd_accel sigmoid, runtime-
 * tunable from the app's Acceleration card. Boots DISABLED (matches AJ's
 * live Svalboard dump: accel off in real use) — the GUI toggle enables it
 * live and SAVE persists. Replaced the maslov &pointer_accel experiment
 * (DT-const, no GUI path). CPI matches the right ball's 1600. */
&flask_accel {
    cpi = <1600>;
    start-disabled;
};

/* Trackball role swap (flask_ballswap, proto v11): one processor fronts
 * each ball's physical chain, right after gestures (gestures must always
 * see raw counts, swap or no swap). While a swap is in effect the
 * processor swallows motion and re-emits it from its own node; the
 * bswap_*_out listeners below carry the OTHER role's chain. Swap off =
 * pass-through, the compiled chains run untouched. */
/ {
    bswap_right: bswap_right {
        compatible = "zmk,input-processor-flask-ballswap";
        #input-processor-cells = <0>;
    };

    bswap_left: bswap_left {
        compatible = "zmk,input-processor-flask-ballswap";
        #input-processor-cells = <0>;
    };
};

/* Right ball = cursor. Gestures see raw counts first (matches the Flask
 * pipeline order); accel scales in place before the unit scaler; motion
 * pops the auto-mouse layer via flask_automouse (runtime-tunable since
 * v13 — see the node config above); snipe layer scales 1/3 on top of the
 * base chain. */
&trackball_peripheral_listener {
    input-processors = <
        &flask_gestures
        &bswap_right
        &flask_accel
        &zip_xy_scaler 1 1
        &flask_automouse
    >;

    snipe {
        layers = <L_SNIPE>;
        input-processors = <&zip_xy_scaler 1 3>;
        process-next;
    };
};

/* Swapped right ball → the SCROLL chain (a copy of the left ball's chain
 * below, minus gestures, which already ran on the physical chain).
 * Transform differs from the left chain: the halves are mirror images, so
 * the right ball needs the OPPOSITE correction — bench 2026-07-11 found
 * both axes inverted with the left chain's X-invert (X twice = none, so
 * the net fix is a Y-invert). */
/ {
    bswap_right_out_listener {
        compatible = "zmk,input-listener";
        device = <&bswap_right>;
        input-processors = <
            &flask_scroll_scaler_x 1 16
            &flask_scroll_scaler_y 1 12
            &zip_xy_to_scroll_mapper
            &zip_scroll_transform INPUT_TRANSFORM_Y_INVERT
            &flask_scrollsnap
        >;
    };
};

/* BLE mouse host (tadakado/zmk-ble-mouse-host) REMOVED 2026-07-12 (AJ's
 * bench-3 ask) — it held a second central-role connection that kept
 * muddying the rgb split-link diagnosis. Re-adding = west.yml project +
 * this node block + pair/unpair behaviors + Control 17/18 bindings. */

/* Left ball = scroll, the stock ZMK chain (the Flask rate-capped converter
 * was tried and removed 2026-07-08 — AJ prefers this feel). Autoscroll is
 * NOT in this chain: stepped mode emits wheel ticks from its own node and
 * never intercepts ball motion (jog mode, which needed to swallow motion,
 * was removed 2026-07-08). Snap/lock at the end is flask_scrollsnap since
 * proto v9 — same engine as kot149's zip_scroll_snap it replaced, but every
 * knob is live from the app's Scroll snap card.
 *
 * The leading xy_transform (2026-07-15) normalizes this ball into the RIGHT
 * ball's frame before anything else sees it. The halves are mirror images,
 * so the left sensor reports both axes inverted relative to the right — the
 * same correction the bswap_*_out chains have carried since 2026-07-11.
 * flask_gestures runs on RAW counts at the front of both chains, so without
 * this it saw the two balls in opposite frames and every left-ball gesture
 * came out inverted on both axes. Normalizing here (rather than inside the
 * gesture module) keeps one frame for the whole chain.
 *
 * Scroll output is UNCHANGED by that transform: pre-inverting X and Y flips
 * both wheel axes, and swapping this chain's scroll transform from X_INVERT
 * to Y_INVERT flips them back — net identical, and now identical to the
 * right ball's scroll chain, which is what the mirror-image geometry
 * predicts. Only gestures change.
 *
 * The scalers are flask_scrollscale (proto v15) rather than the stock
 * zip_*_scaler: same math, same divisors, but the app can scale them live
 * (channel 0x29). Speed 100 = these compiled values verbatim. */
&trackball_central_listener {
    input-processors = <
        &zip_xy_transform (INPUT_TRANSFORM_X_INVERT | INPUT_TRANSFORM_Y_INVERT)
        &flask_gestures
        &bswap_left
        &flask_scroll_scaler_x 1 16
        &flask_scroll_scaler_y 1 12
        &zip_xy_to_scroll_mapper
        &zip_scroll_transform INPUT_TRANSFORM_Y_INVERT
        &flask_scrollsnap
    >;
};

/* Swapped left ball → the CURSOR chain (a copy of the right ball's chain
 * above, minus gestures; auto-mouse and the snipe scaler come along so a
 * swapped left ball behaves exactly like the right one did). The XY invert
 * that used to lead this chain (bench 2026-07-11: both axes inverted without
 * it) moved to the FRONT of the physical chain on 2026-07-15, so counts
 * arrive here already in the right ball's frame — inverting again would
 * undo it. This chain is now literally the right ball's chain. */
/ {
    bswap_left_out_listener {
        compatible = "zmk,input-listener";
        device = <&bswap_left>;
        input-processors = <
            &flask_accel
            &zip_xy_scaler 1 1
            &flask_automouse
        >;

        snipe {
            layers = <L_SNIPE>;
            input-processors = <&zip_xy_scaler 1 3>;
            process-next;
        };
    };
};

/* Autoscroll (flask port, Ben White stepped intervals). Wheel ticks are ±1
 * already paced by the interval, so no snap/cap needed on the way out.
 * Keys: control layer &asc ASC_UP / ASC_DOWN (Studio-movable). */
&flask_autoscroll {
    speed-scale = <100>;
};

/ {
    flask_autoscroll_out {
        compatible = "zmk,input-listener";
        device = <&flask_autoscroll>;
    };
};
